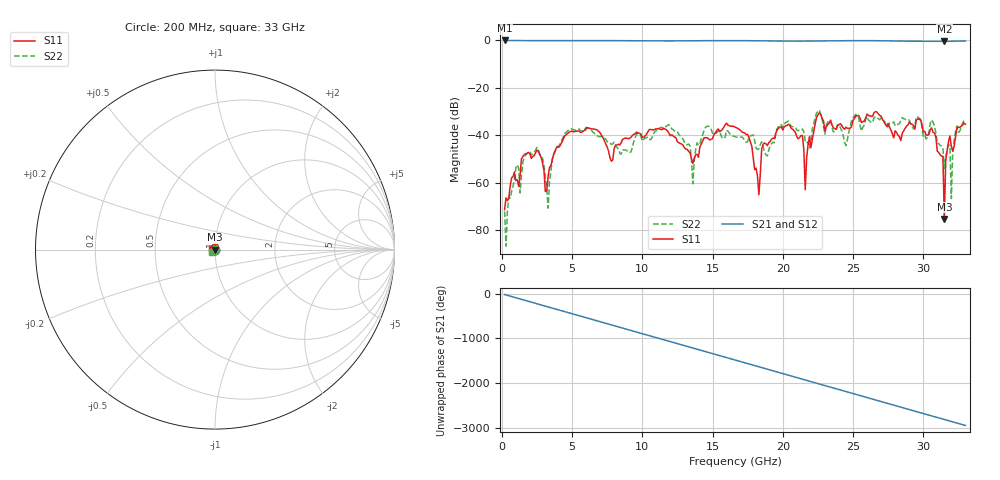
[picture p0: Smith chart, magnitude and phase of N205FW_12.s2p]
# GHZ S RI R 50
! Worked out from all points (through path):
!   329 points, 200 MHz to 33 GHz, reference 50 ohm
!   highest |S21| = -0.02 dB at 200 MHz (marker M1); lowest = -0.4 dB at 31.5 GHz (marker M2)
!   group delay of S21, straight-line fit = 248 ps
!   lowest |S11| = -75.1 dB at 31.5 GHz (marker M3), VSWR 1.00, Z = 50 + j0.0129 ohm
!   |S11| at or under -10 dB: start of sweep to end of sweep
!   |S22| runs from -86.7 to -29.3 dB; largest |S21 - S12| = 0.0022
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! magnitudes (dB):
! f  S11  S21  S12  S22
! 200 MHz  -71.2  0.0  0.0  -72.0
! 2.5 GHz  -46.2  -0.1  -0.1  -45.1
! 3.3 GHz  -57.2  -0.1  -0.1  -70.7
! 3.9 GHz  -45.1  -0.1  -0.1  -44.9
! 5.7 GHz  -38.6  -0.1  -0.1  -38.2
! 11.2 GHz  -37.3  -0.2  -0.2  -36.9
! 13.6 GHz  -51.8  -0.2  -0.2  -60.4
! 14.5 GHz  -41.0  -0.1  -0.1  -36.6
! 16.6 GHz  -36.5  -0.1  -0.1  -40.5
! 18.3 GHz  -65.0  -0.2  -0.2  -45.7
! 19.6 GHz  -37.6  -0.3  -0.3  -37.2
! 21.4 GHz  -40.0  -0.3  -0.3  -37.3
! 21.6 GHz  -62.9  -0.3  -0.3  -42.2
! 22.1 GHz  -41.8  -0.3  -0.3  -37.3
! 27.6 GHz  -36.5  -0.2  -0.2  -34.8
! 30.6 GHz  -36.8  -0.4  -0.4  -33.5
! 31.4 GHz  -48.8  -0.4  -0.4  -45.3
! 31.5 GHz  -75.1  -0.4  -0.4  -54.0
! 31.8 GHz  -42.6  -0.4  -0.4  -44.0
! 32 GHz  -44.7  -0.3  -0.3  -66.6
! 32.3 GHz  -40.7  -0.3  -0.3  -38.2
! 33 GHz  -35.3  -0.3  -0.3  -33.6
